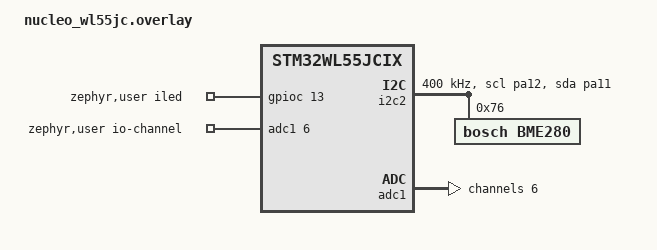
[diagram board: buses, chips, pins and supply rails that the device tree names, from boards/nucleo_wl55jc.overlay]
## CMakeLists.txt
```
#-------------------------------------------------------------------------------
# Zephyr Example Application
#
# Copyright (c) 2021 Nordic Semiconductor ASA
# SPDX-License-Identifier: Apache-2.0

cmake_minimum_required(VERSION 3.13.1)

get_filename_component(LOCAL_CONF "${CMAKE_CURRENT_SOURCE_DIR}/local.conf" ABSOLUTE)
if(EXISTS ${LOCAL_CONF})
    set(OVERLAY_CONFIG ${LOCAL_CONF})
    message(STATUS "Using LoRaWAN credentials from: ${LOCAL_CONF}")
else()
    message(STATUS "local.conf not found at: ${LOCAL_CONF}. Using default LoRaWAN credentials.")
endif()

find_package(Zephyr REQUIRED HINTS $ENV{ZEPHYR_BASE})
project(buzznode)

# Nanopb setup
list(APPEND CMAKE_MODULE_PATH ${ZEPHYR_BASE}/modules/nanopb)
include(nanopb)

# Set proto path for imports
set(PROTO_PATH ${CMAKE_CURRENT_SOURCE_DIR}/protobufs)

# Generate protobuf files
file(GLOB_RECURSE proto_files protobufs/buzzverse/*.proto)
foreach(proto_file ${proto_files})
    get_filename_component(proto_name ${proto_file} NAME_WE)
    nanopb_generate_cpp(PROTO_SRCS PROTO_HDRS ${proto_file}
        RELPATH ${PROTO_PATH}
    )
    list(APPEND proto_sources ${PROTO_SRCS})
endforeach()

# Create a separate library for proto files
zephyr_library_named(proto)
target_sources(proto PRIVATE ${proto_sources})
target_include_directories(proto PUBLIC 
    ${CMAKE_CURRENT_BINARY_DIR}
    ${CMAKE_CURRENT_BINARY_DIR}/protobufs
)

# Add application sources
file(GLOB_RECURSE app_sources src/*.cpp)
target_sources(app PRIVATE ${app_sources})

# Add include directories for cleaner imports
target_include_directories(app PRIVATE
    ${CMAKE_CURRENT_SOURCE_DIR}/src
    ${CMAKE_CURRENT_SOURCE_DIR}/src/peripherals
    ${CMAKE_CURRENT_SOURCE_DIR}/src/sensors
)

# Set C++17 using compiler flags instead of target_compile_features
set_target_properties(app PROPERTIES 
    CXX_STANDARD 17
    CXX_STANDARD_REQUIRED ON
    CXX_EXTENSIONS OFF
)

target_link_libraries(app PRIVATE proto etl::etl)
```

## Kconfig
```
menu "Zephyr"

config LORAMAC_REGION_EU433
    bool
    default y if BOARD_LORA_NODE_ESP32S3_PROCPU

config LORAMAC_REGION_EU868
    bool
    default y if BOARD_NUCLEO_WL55JC

choice LORAWAN_JOIN_MODE
    prompt "LoRaWAN Join Mode"
    default LORAWAN_JOIN_OTAA
    help
        Select the LoRaWAN activation mode.

    config LORAWAN_JOIN_OTAA
        bool "OTAA"
        help
            Over-the-Air Activation (OTAA) - Device performs a join procedure
            with the network server to obtain session keys.

    config LORAWAN_JOIN_ABP
        bool "ABP"
        help
            Activation By Personalization (ABP) - Device uses pre-provisioned
            session keys without performing a join procedure.
endchoice

config LORAWAN_DEV_EUI
    string "Device EUI"
    default "0000000000000000"
    help
      LoRaWAN Device EUI in hex format (16 characters) MSB first

config LORAWAN_JOIN_EUI
    string "Join EUI"
    depends on LORAWAN_JOIN_OTAA
    default "0000000000000000"
    help
      LoRaWAN Join EUI (AppEUI) in hex format (16 characters) MSB first

config LORAWAN_APP_KEY
    string "Application Key"
    depends on LORAWAN_JOIN_OTAA
    default "00000000000000000000000000000000"
    help
      LoRaWAN Application Key in hex format (32 characters) MSB first

config LORAWAN_DEV_ADDR
    string "Device Address (for ABP)"
    depends on LORAWAN_JOIN_ABP
    default "00000000"
    help
      LoRaWAN Device Address in hex format (8 characters) for ABP mode

config LORAWAN_APP_SKEY
    string "Application Session Key (for ABP)"
    depends on LORAWAN_JOIN_ABP
    default "00000000000000000000000000000000"
    help
      LoRaWAN Application Session Key in hex format (32 characters) for ABP mode

config LORAWAN_NWK_SKEY
    string "Network Session Key (for ABP)"
    depends on LORAWAN_JOIN_ABP
    default "00000000000000000000000000000000"
    help
      LoRaWAN Network Session Key in hex format (32 characters) for ABP mode

config ENABLE_DEVICE_SLEEP
    bool "Enable Device Sleep"
    default y
    help
        Enable device sleep functionality to save power when not in use. When enabled, the device will enter a low-power sleep mode when not actively transmitting or receiving data.

config SLEEP_TIME_MS
    int "Sleep Time (ms)"
    default 10000
    depends on ENABLE_DEVICE_SLEEP
    help
        Duration for which the device will sleep before waking up. This value is in milliseconds.

choice ANALOG_SENSOR_TYPE
    prompt "Analog Pin Sensor Type"
    default ANALOG_SENSOR_NONE
    help
        Select the type of sensor connected to the analog pin (A0/Channel 6).

    config ANALOG_SENSOR_NONE
        bool "None"

    config ENABLE_ANALOG
        bool "Soil Moisture Sensor"
        help
            Enable support for Analog Soil Moisture sensor.

    config ENABLE_DUST_SENSOR
        bool "Waveshare Dust Sensor"
        help
            Enable support for Waveshare Dust Sensor.
endchoice

config ENABLE_MOTION_SENSOR
    bool "Motion Sensor"
    default n
    help
        Enable support for Motion sensor.

if ENABLE_DUST_SENSOR

config DUST_SENSOR_ADC_CHANNEL
    int "Dust Sensor ADC Channel"
    default 6
    help
        ADC channel index for the Dust Sensor.

config DUST_SENSOR_ILED_GPIO
    string "Dust Sensor ILED GPIO"
    default "PC13"
    help
        GPIO pin for the Dust Sensor ILED control

endif # ENABLE_DUST_SENSOR


source "Kconfig.zephyr"
endmenu

module = APP
module-str = APP
source "subsys/logging/Kconfig.template.log_config"
```

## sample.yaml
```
# app/sample.yaml
sample:
  description: BuzzVerse node application
  name: buzznode
common:
  build_only: true
  integration_platforms:
    - lora_node/esp32s3
tests:
  app.default: {}
  app.debug:
    extra_overlay_confs:
      - debug.conf
```

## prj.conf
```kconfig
# --- Language / libc ---
CONFIG_CPP=y
CONFIG_GLIBCXX_LIBCPP=y
CONFIG_NEWLIB_LIBC=y

# --- App deps ---
CONFIG_NANOPB=y

# --- Reset / power ---
CONFIG_RESET=y
CONFIG_REBOOT=y
CONFIG_POWEROFF=y

# STM32 wakeup pins support
CONFIG_STM32_WKUP_PINS=y

# --- Buses / peripherals ---
CONFIG_GPIO=y
CONFIG_I2C=y
CONFIG_SPI=y
CONFIG_ADC=y

# --- Sensors ---
CONFIG_SENSOR=y
CONFIG_SENSOR_ASYNC_API=y

# --- Stacks ---
CONFIG_MAIN_STACK_SIZE=8192
CONFIG_IDLE_STACK_SIZE=2048
CONFIG_SYSTEM_WORKQUEUE_STACK_SIZE=4096

# --- Logging / console ---
CONFIG_LOG=y
CONFIG_PRINTK=y
CONFIG_SERIAL=y
CONFIG_CONSOLE=y
CONFIG_UART_CONSOLE=y

CONFIG_LOG_DEFAULT_LEVEL=3

# --- RNG ---
CONFIG_ENTROPY_GENERATOR=y

# --- RTC / alarm ---
CONFIG_RTC=y
CONFIG_RTC_ALARM=y

# --- Flash / settings ---
CONFIG_FLASH=y
CONFIG_FLASH_MAP=y
CONFIG_NVS=y
CONFIG_SETTINGS=y
CONFIG_SETTINGS_RUNTIME=y

# --- LoRa / LoRaWAN ---
CONFIG_LORA=y
CONFIG_LORAWAN=y
CONFIG_LORAWAN_NVM_SETTINGS=y

CONFIG_LORAWAN_LOG_LEVEL_DBG=y

CONFIG_PM=y
CONFIG_PM_DEVICE=y
CONFIG_PM_DEVICE_RUNTIME=y

# --- Bootloader ---
CONFIG_BOOTLOADER_MCUBOOT=n
```

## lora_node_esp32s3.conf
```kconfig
# Hardware-specific settings for the BuzzVerse Node
CONFIG_I2C=y
CONFIG_GPIO=y
CONFIG_SPI=y

CONFIG_SENSOR=y
CONFIG_SENSOR_ASYNC_API=y

# Random number generator required for LoRaWAN
CONFIG_ENTROPY_GENERATOR=y

# LoRaWAN application layer
CONFIG_LORA=y
CONFIG_LORAWAN=y
CONFIG_LORAWAN_NVM_SETTINGS=y

# LoRaWAN services
CONFIG_LORAWAN_SERVICES=y
CONFIG_LORAWAN_LOG_LEVEL_DBG=y

# NVS and Settings for storing LoRaWAN state
CONFIG_NVS=y
CONFIG_SETTINGS=y
CONFIG_SETTINGS_RUNTIME=y
CONFIG_FLASH=y
CONFIG_FLASH_MAP=y

# MCUBOOT for DFU
CONFIG_BOOTLOADER_MCUBOOT=y
```

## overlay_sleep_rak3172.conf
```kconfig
# overlay_sleep_rak3172.conf
CONFIG_PINCTRL=y

# Disable all logging and console
CONFIG_LOG=n
CONFIG_LOG_PRINTK=n
CONFIG_LOG_MODE_IMMEDIATE=n
CONFIG_LOG_BACKEND_RTT=n
CONFIG_CONSOLE=n
CONFIG_UART_CONSOLE=n
CONFIG_SERIAL=n
CONFIG_BOOT_BANNER=n
CONFIG_STDOUT_CONSOLE=n
CONFIG_PRINTK=n

# Disable debug
CONFIG_DEBUG=n
CONFIG_DEBUG_THREAD_INFO=n
CONFIG_DEBUG_OPTIMIZATIONS=n
CONFIG_RTT_CONSOLE=n
CONFIG_USB_DEVICE_STACK=n
CONFIG_CBPRINTF_FP_SUPPORT=n
```

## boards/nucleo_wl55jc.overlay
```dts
#include <st/wl/stm32wl55jcix-pinctrl.dtsi>

/ {
    aliases {
        bme280-i2c = &i2c2;
    };

    zephyr,user {
        io-channels = <&adc1 6>;
        io-channels-names = "a0";
        iled-gpios = <&gpioc 13 GPIO_ACTIVE_HIGH>;
    };
};

&i2c2 {
    pinctrl-0 = <&i2c2_scl_pa12 &i2c2_sda_pa11>;
    pinctrl-names = "default";
    status = "okay";
    clock-frequency = <I2C_BITRATE_FAST>;

    bme280@76 {
        compatible = "bosch,bme280";
        reg = <0x76>;
        status = "okay";
    };
};

&adc1 {
    status = "okay";

    #address-cells = <1>;
    #size-cells = <0>;

    analog_input: channel@6 {
        reg = <6>;
        zephyr,gain = "ADC_GAIN_1";
        zephyr,reference = "ADC_REF_INTERNAL";
        zephyr,acquisition-time = <ADC_ACQ_TIME_DEFAULT>;
        zephyr,resolution = <12>;
    };
};
```

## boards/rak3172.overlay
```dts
/ {
    chosen {
		zephyr,console = &lpuart1;
		zephyr,shell-uart = &lpuart1;
	};
    
    aliases {
        bme280-i2c = &i2c2;
    };

    zephyr,user {
        io-channels = <&adc1 6>;
        io-channels-names = "a0";
        wakeup-gpios = <&gpiob 5 (GPIO_ACTIVE_LOW | GPIO_PULL_UP)>;
    };
};



&adc1 {
    status = "okay";
    st,adc-clock-source = "SYNC";
    st,adc-prescaler = <1>;

    #address-cells = <1>;
    #size-cells = <0>;

    soil_sensor: channel@6 {
        reg = <6>;
        zephyr,gain = "ADC_GAIN_1";
        zephyr,reference = "ADC_REF_INTERNAL";
        zephyr,acquisition-time = <ADC_ACQ_TIME_DEFAULT>;
        zephyr,resolution = <12>;
    };
};


&pinctrl {
    i2c2_scl_pa12_sleep: i2c2_scl_pa12_sleep {
        pinmux = <STM32_PINMUX('A', 12, ANALOG)>;
    };

    i2c2_sda_pa11_sleep: i2c2_sda_pa11_sleep {
        pinmux = <STM32_PINMUX('A', 11, ANALOG)>;
    };
};

&lpuart1 {
	pinctrl-0 = <&lpuart1_tx_pa2 &lpuart1_rx_pa3>;
	pinctrl-names = "default";
	current-speed = <115200>;
	status = "okay";
};

&usart1 {
    status = "disabled";
};

&usart2 {
    status = "disabled";
};

&i2c2 {
    pinctrl-1 = <&i2c2_scl_pa12_sleep &i2c2_sda_pa11_sleep>;
    pinctrl-names = "default", "sleep";

    bme280@76 {
        compatible = "bosch,bme280";
        reg = <0x76>;
        status = "okay";
    };
};

&pwr {
    status = "okay";
};
```

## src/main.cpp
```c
#include <zephyr/device.h>
#include <zephyr/kernel.h>
#include <zephyr/logging/log.h>
#include <zephyr/sys/printk.h>
#include <zephyr/sys/reboot.h>
#include <zephyr/drivers/adc.h>

#include "Application.hpp"
#include "peripherals/lorawan_handler/lorawan_handler.hpp"
#include "sensors/bme280/bme280.hpp"
#include "sensors/analog/analog.hpp"
#include "sensors/bq27441/bq27441.hpp"
#include "utils/banner.hpp"
#include "utils/sleep-manager.hpp"

LOG_MODULE_REGISTER(main_entry, LOG_LEVEL_DBG);

#ifdef CONFIG_SLEEP_TIME_MS
  #define APP_SLEEP_DURATION_MS CONFIG_SLEEP_TIME_MS
#else
  #define APP_SLEEP_DURATION_MS 10000
#endif

static const struct adc_dt_spec soil_sensor_adc_spec =
    ADC_DT_SPEC_GET_BY_IDX(DT_PATH(zephyr_user), 0);


int main(void) {
  printk("%s\n", APP_ASCII_BANNER);
  LOG_INF("===== Buzzverse Node System Booting (Zephyr Log) =====");

  // Array of supported sensors
  etl::array<etl::unique_ptr<Sensor>, NUMBER_OF_SENSORS> sensors {
	  etl::unique_ptr<BME280>(new BME280()),
#ifdef CONFIG_ENABLE_ANALOG
	etl::unique_ptr<Analog>(new Analog(&soil_sensor_adc_spec)),
#endif
  };

  BQ27441 bq27441;
  LoRaWANHandler lorawan(bq27441);

  etl::unique_ptr<SleepManager> p_sleep_manager(nullptr);
#ifdef CONFIG_ENABLE_DEVICE_SLEEP
  p_sleep_manager = etl::unique_ptr<SleepManager>(new SleepManager);
#endif

  Application app(sensors, lorawan, etl::move(p_sleep_manager));

  if (!app.init()) {
    LOG_ERR("Critical application initialization failed!");

    buzzverse_v1_Packet packet = buzzverse_v1_Packet_init_default;
    app.generate_init_failure_report(packet);

    if (lorawan.is_ready()) {
      LOG_ERR("Attempting to send failure status packet via LoRaWAN...");
      lorawan.send_packet(packet);
    }

    LOG_ERR("Rebooting device due to critical initialization failure.");
    sys_reboot(SYS_REBOOT_COLD);
  }

  app.run_cycle();

#ifdef CONFIG_ENABLE_DEVICE_SLEEP
  app.enter_low_power_mode(APP_SLEEP_DURATION_MS);
  LOG_WRN("Execution continued after enter_low_power_mode - this is unexpected for deep sleep.");
#else
  LOG_INF("Device sleep not enabled. Entering polling loop.");
  while (true) {
    k_sleep(K_MSEC(APP_SLEEP_DURATION_MS));
    app.run_cycle();
  }
#endif

  return 0;  // Should not be reached
}
```

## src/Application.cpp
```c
#include "Application.hpp"

#include <zephyr/logging/log.h>
#include <zephyr/sys/reboot.h>

#include "buzzverse/packet.pb.h"
#include "peripherals/lorawan_handler/lorawan_handler.hpp"

LOG_MODULE_REGISTER(application, CONFIG_APP_LOG_LEVEL);

Application::Application(etl::array<etl::unique_ptr<Sensor>, NUMBER_OF_SENSORS>& sensors,
                         LoRaWANHandler& lorawan, SleepManager* sleep_manager)
    : m_sensors(sensors), m_lorawan(lorawan), m_sleep_manager(sleep_manager) {}

bool Application::init() {
  LOG_INF("Application core initializing...");

  if (!initialize_peripherals()) {
    LOG_ERR("Critical peripheral initialization failed.");
    return false;
  }

  if (m_sleep_manager && m_sleep_manager->is_ready()) {
    LOG_INF("Wakeup cause: %d", static_cast<int>(m_sleep_manager->get_wakeup_cause()));
  }
  LOG_INF("Application core initialization complete.");
  return true;
}

bool Application::initialize_peripherals() {
  LOG_DBG("Initializing all application peripherals...");
  bool all_essential_ready = true;

  // Initialize sensors
  for (auto& sensor : m_sensors) {
    if (sensor) {
      LOG_DBG("Initializing: %s", sensor->get_name().c_str());
      if (sensor->init() != Peripheral::Status::OK) {
        LOG_ERR("%s initialization failed.", sensor->get_name().c_str());
      } else {
        LOG_INF("%s initialized.", sensor->get_name().c_str());
      }
    }
  }

  // Initialize the LoRaWAN manager
  LOG_DBG("Initializing: %s", m_lorawan.get_name().c_str());
  if (m_lorawan.init() != Peripheral::Status::OK) {
    LOG_ERR("%s initialization failed.", m_lorawan.get_name().c_str());
    all_essential_ready = false;  // LoRaWAN is essential
  } else {
    LOG_INF("%s initialized.", m_lorawan.get_name().c_str());
  }

  // Initialize SleepManager only if it was provided
  if (m_sleep_manager) {
    LOG_DBG("Initializing: %s", m_sleep_manager->get_name().c_str());
    if (m_sleep_manager->init() != Peripheral::Status::OK) {
      LOG_ERR("%s initialization failed.", m_sleep_manager->get_name().c_str());
      // Not essential, will fallback to k_sleep
    } else {
      LOG_INF("%s initialized.", m_sleep_manager->get_name().c_str());
    }
  }

  return all_essential_ready;
}

void Application::generate_init_failure_report(buzzverse_v1_Packet& packet) {
  LOG_INF("Generating initialization failure report...");

  packet.which_data = buzzverse_v1_Packet_status_tag;
  auto& status_msg = packet.data.status;

  for (const auto& sensor : m_sensors) {
    if (sensor) sensor->get_status(status_msg);
  }

  if (m_lorawan.is_ready()) {
    status_msg.lorawan_status = buzzverse_v1_Status_ComponentState_NORMAL;
  } else {
    status_msg.lorawan_status = buzzverse_v1_Status_ComponentState_INITIALIZATION_FAILED;
  }
}

void Application::run_cycle() {
  LOG_INF("--- Starting Application Cycle ---");

  if (m_sleep_manager) {
    uint32_t count = m_sleep_manager->get_and_clear_wakeup_count();

    if (count > 0) {
      LOG_INF("Detected %u wakeup events. Sending report...", count);

      buzzverse_v1_Packet packet = buzzverse_v1_Packet_init_default;
      packet.which_data = buzzverse_v1_Packet_counter_tag;
      packet.data.counter.counter = count;

      send_lora_packet(packet);
    }
  }

  for (auto& sensor : m_sensors) {
    if (sensor && sensor->is_ready()) {
      buzzverse_v1_Packet packet = buzzverse_v1_Packet_init_default;
      if (sensor->get_packet(packet) == Sensor::Status::OK) {
        send_lora_packet(packet);
      } else {
        LOG_ERR("Failed to get %s packet", sensor->get_name().c_str());
      }
    }
  }

  LOG_INF("--- Application Cycle Complete ---");
}

void Application::enter_low_power_mode(int sleep_duration_ms) {
  // Check if SleepManager is available and ready
  if (!m_sleep_manager || !m_sleep_manager->is_ready()) {
    LOG_WRN("SleepManager not available/ready. Defaulting to k_sleep for %d ms.",
            sleep_duration_ms);
    k_msleep(sleep_duration_ms);
    return;
  }

  LOG_INF("Preparing system for deep sleep (duration: %d ms)...", sleep_duration_ms);

  m_sleep_manager->set_sleep_duration(sleep_duration_ms);
  m_sleep_manager->enter_sleep(SleepManager::SleepMode::DEEP_SLEEP);
}

void Application::send_lora_packet(const buzzverse_v1_Packet& packet) {
  LOG_INF("Preparing LoRaWAN application packet...");

  if (m_lorawan.is_ready()) {
    LOG_INF("Attempting to send application packet via LoRaWAN...");
    if (m_lorawan.send_packet(packet) != LoRaWANHandler::Status::OK) {
      LOG_ERR("Failed to send LoRaWAN application packet.");
    } else {
      LOG_INF("LoRaWAN application packet successfully sent or queued.");
    }
  } else {
    LOG_ERR("LoRaWAN handler not ready; cannot send packet.");
  }
}
```

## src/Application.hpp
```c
#ifndef APPLICATION_HPP
#define APPLICATION_HPP

#include "buzzverse/packet.pb.h"
#include "sensor.hpp"

// Number of supported sensor types used in the sensors array
#define BASE_SENSOR_COUNT 1

#ifdef CONFIG_ENABLE_ANALOG
    #define ANALOG_SENSOR_COUNT 1 // Analog sensor is enabled
#else
    #define ANALOG_SENSOR_COUNT 0 // Analog sensor is disabled
#endif

#ifdef CONFIG_ENABLE_DUST_SENSOR
    #define DUST_SENSOR_COUNT 1 // Dust sensor is enabled
#else
    #define DUST_SENSOR_COUNT 0 // Dust sensor is disabled
#endif

// The final fixed size is calculated by the preprocessor
#define NUMBER_OF_SENSORS (BASE_SENSOR_COUNT + ANALOG_SENSOR_COUNT + DUST_SENSOR_COUNT)

class LoRaWANHandler;
class SleepManager;

class Application {
 public:
  /**
   * @brief Construct a new Application object.
   *
   * @param sensors Array of pointers to available sensors.
   * @param lorawan Reference to the LoRaWAN handler.
   * @param sleep_manager Pointer to the SleepManager. Can be nullptr if sleep is disabled.
   */
  Application(
		  etl::array<etl::unique_ptr<Sensor>, NUMBER_OF_SENSORS>& sensors,
		  LoRaWANHandler& lorawan,
		  etl::unique_ptr<SleepManager> sleep_manager);
  ~Application() = default;

  // Main phases of the application
  bool init();       // Initialize all components
  void run_cycle();  // Perform one operational cycle (read sensors, send data)

  /**
   * @brief Puts the device into a low-power state.
   *
   * If a SleepManager was not provided during construction, this function will fall back
   * to a simple k_sleep to prevent high power consumption in an infinite loop.
   *
   * @param sleep_duration_ms The duration to sleep for.
   */
  void enter_low_power_mode(int sleep_duration_ms);

  /**
   * @brief Populates a status packet with the initialization state of peripherals.
   *
   * This should be called after a failed init() to create a diagnostic report.
   * @param packet The packet to be filled with status information.
   */
  void generate_init_failure_report(buzzverse_v1_Packet& packet);

 private:
  // Internal helper methods
  bool initialize_peripherals();
  void send_lora_packet(const buzzverse_v1_Packet& packet);

  etl::array<etl::unique_ptr<Sensor>, NUMBER_OF_SENSORS>& m_sensors;
  LoRaWANHandler& m_lorawan;
  etl::unique_ptr<SleepManager> m_sleep_manager;
};

#endif  // APPLICATION_HPP
```

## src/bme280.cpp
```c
#include "bme280.hpp"

#include <zephyr/drivers/sensor.h>
#include <zephyr/logging/log.h>

LOG_MODULE_REGISTER(bme280, LOG_LEVEL_DBG);

BME280::BME280(const device* dev) : bme280_dev(dev) {}

bool BME280::init() {
  if (!device_is_ready(bme280_dev)) {
    LOG_WRN("BME280 device not ready");
    return false;
  }

  LOG_INF("BME280 device ready");
  ready = true;
  return true;
}

void BME280::read_data(etl::string<64>& msg, uint32_t counter) const {
  struct sensor_value temp, press, humidity;

  int rc = sensor_sample_fetch(bme280_dev);
  if (rc != 0) {
    LOG_ERR("sensor_sample_fetch failed: %d", rc);
    return;
  }

  sensor_channel_get(bme280_dev, SENSOR_CHAN_AMBIENT_TEMP, &temp);
  sensor_channel_get(bme280_dev, SENSOR_CHAN_PRESS, &press);
  sensor_channel_get(bme280_dev, SENSOR_CHAN_HUMIDITY, &humidity);

  double temp_val = temp.val1 + (temp.val2 / 1000000.0);
  double hum_val = humidity.val1 + (humidity.val2 / 1000000.0);
  double pressure_hpa = (press.val1 * 10) + (press.val2 * 10.0 / 1000000.0);

  char buffer[64];
  snprintf(buffer, sizeof(buffer), "%u. %.1f °C, %.1f %%, %.1f hPa", counter, temp_val, hum_val,
           pressure_hpa);
  msg = buffer;
}
```

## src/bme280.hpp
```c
#pragma once

#include <etl/string.h>
#include <zephyr/device.h>

class BME280 {
 public:
  explicit BME280(const device* dev);
  bool init();
  void read_data(etl::string<64>& msg, uint32_t counter) const;
  bool is_ready() const {
    return ready;
  }

 private:
  const device* bme280_dev;
  bool ready{false};
};
```

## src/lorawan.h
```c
#define LORAWAN_DEV_EUI  {0x00, 0x00, 0x00, 0x00, 0x00, 0x00, 0x00, 0x00}
#define LORAWAN_JOIN_EUI {0x00, 0x00, 0x00, 0x00, 0x00, 0x00, 0x00, 0x00}
#define LORAWAN_APP_KEY  {0x00, 0x00, 0x00, 0x00, 0x00, 0x00, 0x00, 0x00, 0x00, 0x00, 0x00, 0x00, 0x00, 0x00, 0x00, 0x00}
```

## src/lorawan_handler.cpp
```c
#include "lorawan_handler.hpp"

#include <etl/array.h>
#include <zephyr/device.h>
#include <zephyr/logging/log.h>
#include <zephyr/lorawan/lorawan.h>

LOG_MODULE_REGISTER(lorawan_handler, LOG_LEVEL_DBG);

bool LoRaWANHandler::init() {
  const device* lora_dev = DEVICE_DT_GET(DT_ALIAS(lora0));
  if (!device_is_ready(lora_dev)) {
    LOG_WRN("%s: device not ready.", lora_dev->name);
    return false;
  }

  lorawan_enable_adr(false);
  lorawan_set_class(LORAWAN_CLASS_A);

  int ret = lorawan_start();
  if (ret < 0) {
    LOG_WRN("lorawan_start failed: %d", ret);
    return false;
  }

  struct lorawan_join_config join_cfg;
  join_cfg.mode = LORAWAN_ACT_OTAA;
  join_cfg.dev_eui = dev_eui.data();
  join_cfg.otaa.join_eui = join_eui.data();
  join_cfg.otaa.app_key = app_key.data();
  join_cfg.otaa.nwk_key = app_key.data();

  LOG_INF("Joining LoRaWAN network...");
  ret = lorawan_join(&join_cfg);
  if (ret < 0) {
    LOG_WRN("lorawan_join failed: %d", ret);
    return false;
  }

  LOG_INF("Successfully joined LoRaWAN network");
  connected = true;
  return true;
}

void LoRaWANHandler::send_message(const char* msg) const {
  etl::array<uint8_t, MAX_MSG_SIZE> buffer{};
  size_t msg_len = strlen(msg);
  size_t msg_size = etl::min(msg_len, MAX_MSG_SIZE);

  memcpy(buffer.data(), msg, msg_size);

  int ret = lorawan_send(2, buffer.data(), msg_size, LORAWAN_MSG_UNCONFIRMED);
  if (ret < 0) {
    LOG_ERR("lorawan_send failed: %d", ret);
  } else {
    LOG_INF("Message sent successfully: %s", msg);
  }
}
```

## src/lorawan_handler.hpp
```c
#pragma once

#include <etl/array.h>
#include <etl/string.h>

class LoRaWANHandler {
 public:
  LoRaWANHandler();
  bool init();
  void send_message(const char* msg) const;
  bool is_connected() const {
    return connected;
  }

 private:
  static constexpr size_t MAX_MSG_SIZE = 64;
  bool connected{false};
  etl::array<uint8_t, 8> dev_eui;
  etl::array<uint8_t, 8> join_eui;
  etl::array<uint8_t, 16> app_key;
};
```

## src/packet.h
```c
#ifndef PACKET_H_
#define PACKET_H_

#include <stdint.h>

#ifdef __cplusplus
extern "C" {
#endif

#define DATA_SIZE 59
#define META_DATA_SIZE 5
#define PACKET_SIZE (DATA_SIZE + META_DATA_SIZE)

#define PACKET_VERSION_IDX 0
#define PACKET_ID_IDX 1
#define PACKET_MSG_ID_IDX 2
#define PACKET_MSG_COUNT_IDX 3
#define PACKET_DATA_TYPE_IDX 4

typedef enum {
  BME280 = 1,
  BMA400 = 2,
  MQ2 = 3,
  GPS = 4,
  STATUS = 5,
  BMM150 = 6,
  SMS = 32
} DataType;

typedef struct {
  uint8_t version;         /**< 4 bits version + 4 bits reserved for later use */
  uint8_t id;              /**< 4 bits class + 4 bits device ID */
  uint8_t msgID;           /**< 1 byte message ID */
  uint8_t msgCount;        /**< 1 byte message count (optional) */
  DataType dataType;       /**< 1 byte data type (see DataType enum) */
  uint8_t data[DATA_SIZE]; /**< Payload data */
} packet_t;

#ifdef __cplusplus
}
#endif

#endif /* PACKET_H_ */
```
